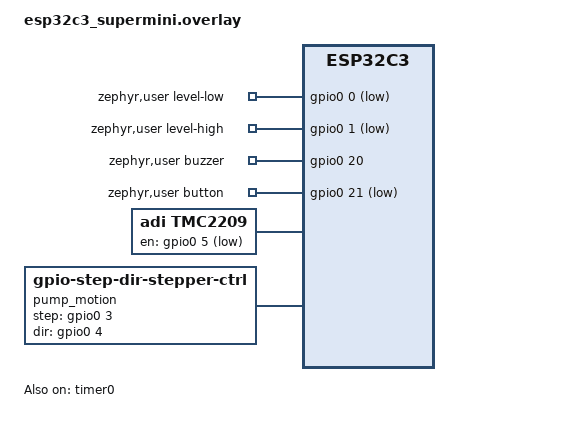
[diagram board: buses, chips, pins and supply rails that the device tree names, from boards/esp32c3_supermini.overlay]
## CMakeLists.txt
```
# Peristaltic condensate pump firmware (design.md §6).
#
#   board esp32c3_supermini : the real pump (TMC2209 step/dir, GPIO sensors, Wi-Fi)
#   board native_sim        : simulated tank + motor, host network, same code
cmake_minimum_required(VERSION 3.20.0)

# Wi-Fi provisioning: the captive-portal module on the device, a stub on the
# host (whose network is reached through offloaded sockets).
if(BOARD MATCHES "native_sim")
    list(APPEND ZEPHYR_EXTRA_MODULES ${CMAKE_CURRENT_SOURCE_DIR}/modules/wifi_prov_sim)
else()
    list(APPEND ZEPHYR_EXTRA_MODULES ${CMAKE_CURRENT_SOURCE_DIR}/modules/wifi_prov)
endif()

find_package(Zephyr REQUIRED HINTS $ENV{ZEPHYR_BASE})
project(peristaltic_pump)

target_sources(app PRIVATE
    src/main.c
    src/control.c
    src/pump.c
    src/level.c
    src/params.c
    src/app_shell.c
    src/cmnd.c
    src/report.c
    src/netcfg.c
    src/pumpnet.c
    src/timesync.c
)

if(CONFIG_PUMP_SIM)
    target_sources(app PRIVATE src/sim.c)
else()
    target_sources(app PRIVATE
        src/motor_stepper.c
        src/level_gpio.c
    )
endif()
```

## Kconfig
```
mainmenu "Peristaltic condensate pump"

menu "Pump"

config PUMP_SIM
	bool "Simulated reservoir and motor"
	default y if BOARD_NATIVE_SIM
	help
	  Replace the TMC2209 and the level sensors with a simulated
	  reservoir (design.md §4.7 volumes) and motor. The control code is
	  the same as on the device.

config PUMP_TICK_MS
	int "Control loop period (ms)"
	default 100

config PUMP_DEBOUNCE_MS
	int "Level sensor debounce (ms)"
	default 2000
	help
	  A sensor must hold a new state this long before it counts. Rejects
	  ripples on the water surface (design.md §5.3).

config PUMP_STEPS_PER_REV
	int "Motor full steps per revolution"
	default 200

config PUMP_MICROSTEPS
	int "Microsteps per full step"
	default 8
	help
	  Must match the TMC2209 MS1/MS2 strapping. Both open = 8
	  (electronics.md §4).

config PUMP_SIM_EFFICIENCY_PCT
	int "Simulated real/believed pump displacement (%)"
	depends on PUMP_SIM
	default 85
	help
	  The simulated pump moves this fraction of what the firmware thinks
	  it moves, to exercise the estimator against an uncalibrated V_rev.

endmenu

source "Kconfig.zephyr"
```

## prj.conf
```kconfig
# ---- Console, log, shell ----------------------------------------------------
CONFIG_CONSOLE=y
CONFIG_PRINTK=y
CONFIG_LOG=y
CONFIG_SHELL=y
CONFIG_KERNEL_SHELL=y
# Logs go to the console backend (UART, or stdout on native_sim) from boot on.
# The shell's own log backend would print every line a second time, and it
# starts too late to show the boot messages.
CONFIG_SHELL_LOG_BACKEND=n
# `cmnd` takes the whole payload as words.
CONFIG_SHELL_ARGC_MAX=32

# ---- Persistent tunables, q̂, counters, network settings (settings on NVS) ---
CONFIG_FLASH=y
CONFIG_FLASH_MAP=y
CONFIG_NVS=y
CONFIG_SETTINGS=y
CONFIG_SETTINGS_NVS=y

# ---- Floats: printf %f in the shell, logs and JSON (no FPU; rates are low) --
CONFIG_PICOLIBC_IO_FLOAT=y
CONFIG_CBPRINTF_FP_SUPPORT=y

# ---- Threads ----------------------------------------------------------------
# main = the control loop (priority 0); the network thread runs at 10, the
# storage work queue at 13, the shell at the lowest priority.
CONFIG_MAIN_STACK_SIZE=4096
CONFIG_SYSTEM_WORKQUEUE_STACK_SIZE=2048
# A stuck control loop resets the chip (main.c).
CONFIG_TASK_WDT=y

# ---- Network: MQTT + Home Assistant, NTP ------------------------------------
CONFIG_NETWORKING=y
CONFIG_NET_IPV4=y
CONFIG_NET_TCP=y
CONFIG_NET_UDP=y
CONFIG_NET_SOCKETS=y
CONFIG_NET_MGMT=y
CONFIG_NET_MGMT_EVENT=y
CONFIG_NET_MGMT_EVENT_INFO=y
CONFIG_MQTT_LIB=y
CONFIG_MQTT_KEEPALIVE=60
CONFIG_SNTP=y
CONFIG_HWINFO=y
CONFIG_WIFI_PROV=y
CONFIG_WIFI_PROV_NAME="Condpump"
```

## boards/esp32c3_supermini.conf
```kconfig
# Stepper: TMC2209 enable pin + CPU step/dir controller on a hardware timer.
CONFIG_GPIO=y
CONFIG_STEPPER=y
CONFIG_COUNTER=y

# Hardware fallback for the task watchdog (wdt0).
CONFIG_WATCHDOG=y

# Logs on the USB console from boot (prj.conf turns the shell log backend off;
# this backend defaults to off whenever the serial shell is enabled).
CONFIG_LOG_BACKEND_UART=y

# ---- Wi-Fi (station + provisioning AP, modules/wifi_prov) -------------------
CONFIG_WIFI=y
CONFIG_WIFI_ESP32=y
CONFIG_WIFI_NM=y
CONFIG_NET_L2_ETHERNET=y
CONFIG_NET_L2_WIFI_MGMT=y
# The ESP32 Wi-Fi driver starts the DHCPv4 client itself on association.
CONFIG_NET_DHCPV4=y
CONFIG_NET_DHCPV4_SERVER=y
CONFIG_NET_CONFIG_AUTO_INIT=n
# wifi_prov follows IPv6 (SLAAC) too, and the home LAN has it.
CONFIG_NET_IPV6=y
CONFIG_NET_IF_MAX_IPV4_COUNT=2
CONFIG_NET_IF_MAX_IPV6_COUNT=2
CONFIG_DNS_RESOLVER=y
CONFIG_DNS_RESOLVER_MAX_SERVERS=2
CONFIG_NET_DHCPV4_OPTION_DNS_ADDRESS=y
CONFIG_DNS_RECONFIGURE_CLEANUP=y
CONFIG_NET_MGMT_EVENT_STACK_SIZE=4096
CONFIG_NET_MGMT_EVENT_QUEUE_SIZE=10

# Shell over the network (port 23) as well as USB: no cable needed once the
# pump is in the wall. Unauthenticated: LAN only (README).
CONFIG_SHELL_BACKEND_TELNET=y
```

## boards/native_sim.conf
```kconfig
# Simulated reservoir and motor (CONFIG_PUMP_SIM defaults to y here).
# Flash simulator backs the settings; pass --flash=<file> to keep them.
CONFIG_FLASH_SIMULATOR=y
CONFIG_FLASH_PAGE_LAYOUT=y

# Network = the host's, through offloaded sockets: no TAP, no setup. Point
# MqttHost at any broker the host can reach.
CONFIG_NET_DRIVERS=y
CONFIG_NET_SOCKETS_OFFLOAD=y
CONFIG_NET_NATIVE_OFFLOADED_SOCKETS=y
CONFIG_ETH_NATIVE_TAP=n
CONFIG_NET_IPV6=n

CONFIG_DEBUG=y
CONFIG_ASSERT=y
CONFIG_PICOLIBC=y
CONFIG_THREAD_NAME=y
```

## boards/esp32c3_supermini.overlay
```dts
/*
 * ESP32-C3 SuperMini on the pump perfboard (docs/electronics.md §4,
 * design.md §5.2). GPIO2/8/9 are strapping pins and 18/19 are USB, so they
 * are left alone; GPIO8 keeps driving the on-board LED.
 */

#include <zephyr/dt-bindings/gpio/gpio.h>

/ {
	aliases {
		pump-driver = &tmc2209;
		pump-motion = &pump_motion;
	};

	zephyr,user {
		/*
		 * Level sensors through the R/C network of electronics.md §5,
		 * which already pulls the line, so no internal pull here.
		 * [TBC Q2] ACTIVE_LOW assumes an NPN normally-open sensor that
		 * pulls its output low when it sees water. Flip to
		 * GPIO_ACTIVE_HIGH for a push-pull or PNP sensor.
		 */
		level-low-gpios = <&gpio0 0 GPIO_ACTIVE_LOW>;
		level-high-gpios = <&gpio0 1 GPIO_ACTIVE_LOW>;

		/* Optional parts (electronics.md §4). */
		buzzer-gpios = <&gpio0 20 GPIO_ACTIVE_HIGH>;
		button-gpios = <&gpio0 21 (GPIO_ACTIVE_LOW | GPIO_PULL_UP)>;
	};

	/*
	 * TMC2209 StepStick in standalone mode: EN only. MS1/MS2 are left
	 * open (8 microsteps), so no m0/m1 GPIOs; micro-step-res records the
	 * strapping. PDN_UART on GPIO6/7 is wired for phase 2 (design.md §6.5).
	 */
	tmc2209: tmc2209 {
		compatible = "adi,tmc2209";
		micro-step-res = <8>;
		en-gpios = <&gpio0 5 GPIO_ACTIVE_LOW>;
	};

	/*
	 * Step/dir generated by the CPU, timed by a hardware timer instead of
	 * the work queue: jitter at 3-20 RPM is audible (design.md §6.5).
	 */
	pump_motion: pump-motion {
		compatible = "zephyr,gpio-step-dir-stepper-ctrl";
		step-gpios = <&gpio0 3 GPIO_ACTIVE_HIGH>;
		dir-gpios = <&gpio0 4 GPIO_ACTIVE_HIGH>;
		counter = <&step_counter>;
		stepper-driver = <&tmc2209>;
	};
};

/*
 * Timer group 0, timer 0. The counter device is the child node
 * (espressif,esp32-counter); the prescaler lives on the parent timer.
 * APB 80 MHz / 80 = 1 MHz: 1 us step-interval resolution.
 */
&timer0 {
	status = "okay";
	prescaler = <80>;

	step_counter: counter {
		status = "okay";
	};
};
```

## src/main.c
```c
/*
 * Peristaltic condensate pump: control loop.
 *
 * Every CONFIG_PUMP_TICK_MS: read the debounced sensors, advance the motor
 * ramp, run the level controller (control.c) and command the pump. The loop
 * is fully local and never waits on the network, the shell or flash (see
 * app.h). A task watchdog resets the chip if a tick is ever missed by
 * seconds.
 */

#include <errno.h>
#include <stdio.h>

#include <zephyr/app_version.h>
#include <zephyr/drivers/gpio.h>
#include <zephyr/kernel.h>
#include <zephyr/logging/log.h>
#include <zephyr/sys/reboot.h>
#include <zephyr/task_wdt/task_wdt.h>

#include "app.h"
#include "control.h"
#include "level.h"
#include "pumpnet.h"
#include "params.h"
#include "pump.h"
#include "timesync.h"
#include "wifi_prov.h"

LOG_MODULE_REGISTER(main, LOG_LEVEL_INF);

#define QHAT_SAVE_MIN_MS   (10 * 60 * 1000) /* flash wear: q̂ at most every 10 min */
#define TOTALS_SAVE_MS     (60 * 60 * 1000) /* counters hourly */
#define MANUAL_MAX_S       3600
#define WDT_TIMEOUT_MS     3000
#define MUTE_MS            (60 * 60 * 1000) /* button silences the buzzer for 1 h */
#define LONG_PRESS_MS      5000             /* button: reboot into the portal */
#define CALIB_Q_MLH        3000.0f
#define CALIB_MAX_MS       (15 * 60 * 1000)

#define STORE_PRIO 13 /* below the MQTT thread, above nothing that matters */

#define USER_NODE DT_PATH(zephyr_user)
#if DT_NODE_HAS_PROP(USER_NODE, buzzer_gpios)
#define HAVE_BUZZER 1
static const struct gpio_dt_spec buzzer = GPIO_DT_SPEC_GET(USER_NODE, buzzer_gpios);
#endif
#if DT_NODE_HAS_PROP(USER_NODE, button_gpios)
#define HAVE_BUTTON 1
static const struct gpio_dt_spec button = GPIO_DT_SPEC_GET(USER_NODE, button_gpios);
#endif

static struct ctl ctl;
static struct k_spinlock lock;
static struct app_status status;

K_MSGQ_DEFINE(event_q, sizeof(struct app_event), 32, 1);
static uint32_t events_dropped;

/* Requests from other threads, taken under the lock. */
static float manual_q = -1.0f;
static int64_t manual_until_ms;
static float calib_req_revs;
static int64_t alarm_test_until_ms;
static bool req_hose_reset;
static bool req_save;

/* Counters persisted across boots = value at boot + this boot's share. */
static double total_at_boot_ml;
static double hose_at_boot_revs;

/* ---- Blocking work, off the control thread ------------------------------ */

static K_THREAD_STACK_DEFINE(store_stack, 2048);
static struct k_work_q store_q;
static bool restart_portal;

static void save_now(void)
{
	struct app_status st;

	app_get_status(&st);
	struct app_state s = {
		.q_hat_mlh = st.q_hat_mlh,
		.total_ml = st.total_ml,
		.hose_revs = st.hose_revs,
	};
	int err = params_save_state(&s);

	if (err) {
		LOG_ERR("saving state failed (%d)", err);
	}
}

static void save_handler(struct k_work *w)
{
	ARG_UNUSED(w);
	save_now();
}
static K_WORK_DEFINE(save_work, save_handler);

static void restart_handler(struct k_work *w)
{
	ARG_UNUSED(w);
	save_now();
	if (restart_portal) {
		(void)wifi_prov_request_portal();
	}
	LOG_WRN("restarting%s", restart_portal ? " into the Wi-Fi portal" : "");
	pumpnet_shutdown();
	k_msleep(500); /* let the log and the MQTT goodbye out */
	sys_reboot(SYS_REBOOT_COLD);
}
static K_WORK_DELAYABLE_DEFINE(restart_work, restart_handler);

void app_restart(bool portal)
{
	restart_portal = portal;
	k_work_reschedule_for_queue(&store_q, &restart_work, K_MSEC(300));
}

/* ---- Observers' API ------------------------------------------------------ */

void app_get_status(struct app_status *st)
{
	K_SPINLOCK(&lock) {
		*st = status;
	}
}

int app_event_get(struct app_event *ev)
{
	return k_msgq_get(&event_q, ev, K_NO_WAIT);
}

void app_events_purge(void)
{
	k_msgq_purge(&event_q);
}

static void post(enum app_event_type type, uint8_t value)
{
	struct app_event ev = {.type = (uint8_t)type, .value = value};

	if (k_msgq_put(&event_q, &ev, K_NO_WAIT) != 0) {
		events_dropped++; /* nobody is draining it: MQTT is down */
	}
}

void app_manual(float q_mlh, uint32_t seconds)
{
	if (seconds == 0 || seconds > MANUAL_MAX_S) {
		seconds = MANUAL_MAX_S;
	}
	K_SPINLOCK(&lock) {
		manual_q = (q_mlh > 0.0f) ? q_mlh : 0.0f;
		manual_until_ms = k_uptime_get() + (int64_t)seconds * 1000;
		calib_req_revs = 0.0f;
	}
}

void app_auto(void)
{
	K_SPINLOCK(&lock) {
		manual_q = -1.0f;
		calib_req_revs = -1.0f; /* also aborts a calibration */
	}
}

int app_calibrate(float revs)
{
	if (revs < 1.0f || revs > 500.0f) {
		return -EINVAL;
	}
	K_SPINLOCK(&lock) {
		calib_req_revs = revs;
	}
	return 0;
}

int app_calibrate_ml(float ml, float *v_rev_out)
{
	struct app_status st;
	char val[16];

	app_get_status(&st);
	if (st.calibrating || st.calib_revs < 0.5f || ml <= 0.0f) {
		return -EAGAIN;
	}
	float v = ml / st.calib_revs;

	snprintf(val, sizeof(val), "%.3f", (double)v);
	int err = params_set("v_rev_ml", val);

	if (err == 0) {
		*v_rev_out = v;
		LOG_INF("calibrated: %.1f mL / %.2f rev = %.3f mL/rev", (double)ml,
			(double)st.calib_revs, (double)v);
	}
	return err;
}

void app_test_alarm(uint32_t seconds)
{
	K_SPINLOCK(&lock) {
		alarm_test_until_ms = k_uptime_get() + (int64_t)MIN(seconds, 60U) * 1000;
	}
}

void app_hose_replaced(void)
{
	K_SPINLOCK(&lock) {
		req_hose_reset = true;
	}
}

void app_save(void)
{
	K_SPINLOCK(&lock) {
		req_save = true;
	}
}

/* ---- Local helpers ------------------------------------------------------- */

static void log_events(const struct ctl *c, uint32_t ev, const struct ctl_out *out)
{
	if (ev & CTL_EV_MEASURED) {
		LOG_INF("inflow measured %.0f mL/h -> q_hat %.0f mL/h (#%u)",
			(double)c->last_meas_mlh, (double)c->q_hat_mlh, c->n_measurements);
	}
	if (ev & CTL_EV_BOOST) {
		LOG_WRN("level high for long: q_hat raised to %.0f mL/h", (double)c->q_hat_mlh);
	}
	if (ev & CTL_EV_STATE) {
		LOG_INF("state %s, q %.0f mL/h (q_hat %.0f)", ctl_state_name(c->state),
			(double)out->q_cmd_mlh, (double)c->q_hat_mlh);
	}
	if (ev & CTL_EV_EMERGENCY) {
		LOG_WRN("EMERGENCY: full speed until the low sensor is dry");
	}
	if (ev & CTL_EV_PROBLEM_ON) {
		LOG_ERR("PROBLEM: %s", c->sensor_fault ? "sensor fault (L dry, H wet)"
						       : "pump cannot clear the high level");
	}
	if (ev & CTL_EV_PROBLEM_OFF) {
		LOG_INF("problem cleared");
	}
}

static bool night_active(void)
{
	float h;

	if (g_par.quiet) {
		return true;
	}
	return g_par.night_sched && timesync_local_hours(g_par.tz_h, &h) &&
	       timesync_in_window(h, g_par.night_start_h, g_par.night_end_h);
}

/* Button: a short press silences the alarm for an hour; holding it 5 s
 * reboots into the Wi-Fi portal. Returns true while a chirp is due. */
static bool button_update(int64_t now, bool alarm, int64_t *mute_until)
{
#ifdef HAVE_BUTTON
	static int64_t down_since = -1;
	bool down = gpio_pin_get_dt(&button) > 0;

	if (down && down_since < 0) {
		down_since = now;
	} else if (!down && down_since >= 0) {
		int64_t held = now - down_since;

		down_since = -1;
		if (held >= LONG_PRESS_MS) {
			app_restart(true);
		} else if (held >= 50 && alarm) {
			*mute_until = now + MUTE_MS;
			LOG_WRN("alarm silenced for 1 h (button)");
		}
	}
	/* Chirp once the long press is armed, so you know when to let go. */
	return down_since >= 0 && now - down_since >= LONG_PRESS_MS &&
	       now - down_since < LONG_PRESS_MS + 300;
#else
	ARG_UNUSED(now);
	ARG_UNUSED(alarm);
	ARG_UNUSED(mute_until);
	return false;
#endif
}

static void buzzer_set(bool on)
{
#ifdef HAVE_BUZZER
	gpio_pin_set_dt(&buzzer, on);
#else
	ARG_UNUSED(on);
#endif
}

static void watchdog_init(int *channel)
{
	const struct device *hw = DEVICE_DT_GET_OR_NULL(DT_ALIAS(watchdog0));
	int err;

	if (hw && !device_is_ready(hw)) {
		hw = NULL;
	}
	err = task_wdt_init(hw);
	if (err) {
		LOG_ERR("task watchdog init failed (%d)", err);
		*channel = -1;
		return;
	}
	/* No callback: a stuck control loop resets the chip. */
	*channel = task_wdt_add(WDT_TIMEOUT_MS, NULL, NULL);
	LOG_INF("control loop watchdog %d ms%s", WDT_TIMEOUT_MS,
		hw ? ", hardware fallback" : "");
}

enum calib_phase { CAL_OFF, CAL_RUN, CAL_STOP };

int main(void)
{
	struct ctl_out out;
	int64_t last_qhat_save = 0;
	int64_t last_totals_save = k_uptime_get();
	int64_t mute_until = 0;
	bool qhat_dirty = false;
	bool hose_warned = false;
	int wdt = -1;
	uint32_t n_boosts = 0, n_emergencies = 0;
	int err;

	/* Calibration run: CAL_RUN turns until the revolutions are done,
	 * CAL_STOP holds the motor at 0 until it has stopped. */
	enum calib_phase cal = CAL_OFF;
	double cal_start_revs = 0.0;
	float cal_target = 0.0f;
	float cal_done_revs = 0.0f;
	int64_t cal_started = 0;

	/* Last values posted as events, to post only the edges. */
	struct app_status prev = {.state = CTL_STATE_COUNT};

	LOG_INF("peristaltic pump firmware %s, %s", APP_VERSION_STRING,
		IS_ENABLED(CONFIG_PUMP_SIM) ? "SIMULATED reservoir and motor" : CONFIG_BOARD);

	(void)params_init(); /* defaults are usable even if storage fails */
	total_at_boot_ml = g_state.total_ml;
	hose_at_boot_revs = g_state.hose_revs;

	k_work_queue_start(&store_q, store_stack, K_THREAD_STACK_SIZEOF(store_stack), STORE_PRIO,
			   &(struct k_work_queue_config){.name = "store"});

	err = level_init();
	if (err) {
		LOG_ERR("level sensors init failed (%d)", err);
	}
	err = pump_init();
	if (err) {
		LOG_ERR("pump init failed (%d)", err);
	}
#ifdef HAVE_BUZZER
	if (gpio_is_ready_dt(&buzzer)) {
		gpio_pin_configure_dt(&buzzer, GPIO_OUTPUT_INACTIVE);
	}
#endif
#ifdef HAVE_BUTTON
	if (gpio_is_ready_dt(&button)) {
		gpio_pin_configure_dt(&button, GPIO_INPUT);
	}
#endif

	ctl_init(&ctl, &g_par.ctl, g_state.q_hat_mlh);

	/* The network runs in its own lower-priority threads from here on. */
	pumpnet_start();

	watchdog_init(&wdt);

	int64_t next = k_uptime_get();

	for (;;) {
		int64_t now = k_uptime_get();
		/* Set under the lock below; initialised for the compiler. */
		float m_q = -1.0f;
		int64_t m_until = 0;
		float cal_req = 0.0f;
		int64_t test_until = 0;
		bool hose_reset = false, save = false;

		if (wdt >= 0) {
			task_wdt_feed(wdt);
		}

		K_SPINLOCK(&lock) {
			m_q = manual_q;
			m_until = manual_until_ms;
			cal_req = calib_req_revs;
			test_until = alarm_test_until_ms;
			hose_reset = req_hose_reset;
			save = req_save;
			calib_req_revs = 0.0f;
			req_hose_reset = false;
			req_save = false;
		}

		level_tick(now);
		pump_tick(now);

		bool night = night_active();
		struct ctl_in in = {
			.now_ms = now,
			.l_wet = level_low_wet(),
			.h_wet = level_high_wet(),
			.pumped_ml = pump_pumped_ml(),
			.night = night,
		};

		ctl_step(&ctl, &in, &out);

		uint32_t ev = ctl.events;

		ctl.events = 0;
		log_events(&ctl, ev, &out);
		if (ev & CTL_EV_BOOST) {
			n_boosts++;
		}
		if (ev & CTL_EV_EMERGENCY) {
			n_emergencies++;
		}

		/* Calibration requests. */
		if (cal_req > 0.0f) {
			cal = CAL_RUN;
			cal_target = cal_req;
			cal_start_revs = pump_revs();
			cal_started = now;
			K_SPINLOCK(&lock) {
				manual_q = -1.0f; /* a calibration replaces a manual run */
			}
			m_q = -1.0f;
			LOG_INF("calibration: %.0f revolutions at %.0f mL/h", (double)cal_target,
				(double)CALIB_Q_MLH);
		} else if (cal_req < 0.0f && cal != CAL_OFF) {
			cal = CAL_OFF;
			LOG_WRN("calibration aborted");
		}
		if (cal != CAL_OFF && (ctl.state == CTL_EMERGENCY || now - cal_started > CALIB_MAX_MS)) {
			cal = CAL_OFF;
			LOG_WRN("calibration aborted (%s)",
				ctl.state == CTL_EMERGENCY ? "emergency" : "timeout");
		}
		if (cal == CAL_RUN && pump_revs() - cal_start_revs >= (double)cal_target) {
			cal = CAL_STOP;
		}
		if (cal == CAL_STOP && pump_flow_mlh() <= 0.0f) {
			cal = CAL_OFF;
			cal_done_revs = (float)(pump_revs() - cal_start_revs);
			LOG_INF("calibration run done: %.2f rev. Measure the water and send "
				"`CalibrateMl <mL>`", (double)cal_done_revs);
		}

		/* Manual override or calibration, except that an emergency always wins. */
		bool manual = cal != CAL_OFF ||
			      (m_q >= 0.0f && now < m_until && ctl.state != CTL_EMERGENCY);
		float q_manual = (cal == CAL_RUN) ? CALIB_Q_MLH : (cal == CAL_STOP) ? 0.0f : m_q;

		if (manual) {
			ctl_invalidate(&ctl); /* the water we move is not inflow */
			pump_set_flow(q_manual, cal == CAL_STOP);
		} else {
			if (m_q >= 0.0f) {
				K_SPINLOCK(&lock) {
					if (manual_until_ms == m_until) {
						manual_q = -1.0f; /* expired, not renewed */
					}
				}
			}
			pump_set_flow(out.q_cmd_mlh, out.fast_ramp);
		}

		/* Counters and persistence. */
		if (hose_reset) {
			hose_at_boot_revs = -pump_revs();
			hose_warned = false;
			save = true;
			LOG_INF("hose replaced: revolution counter reset");
		}
		double total_ml = total_at_boot_ml + pump_pumped_ml();
		double hose_revs = hose_at_boot_revs + pump_revs();
		bool hose_worn = g_par.hose_life_revs > 0.0f &&
				 hose_revs >= (double)g_par.hose_life_revs;

		if (hose_worn && !hose_warned) {
			hose_warned = true;
			LOG_WRN("hose due for replacement (%.0f rev)", hose_revs);
		}

		if (ev & CTL_EV_QHAT_CHANGED) {
			qhat_dirty = true;
		}
		bool save_due = save || (qhat_dirty && now - last_qhat_save >= QHAT_SAVE_MIN_MS) ||
				now - last_totals_save >= TOTALS_SAVE_MS;

		/* Alarm, mute, button, buzzer. */
		bool alarm = ctl.problem || ctl.sensor_fault;

		if (!alarm) {
			mute_until = 0;
		}
		bool chirp = button_update(now, alarm, &mute_until);
		bool muted = alarm && now < mute_until;
		bool testing = now < test_until;

		/* Alarm: 200 ms beep every 5 s. Test: 200 ms on / 200 ms off. */
		buzzer_set(chirp || (alarm && !muted && (now % 5000) < 200) ||
			   (testing && (now % 400) < 200));

		K_SPINLOCK(&lock) {
			status = (struct app_status){
				.state = ctl.state,
				.low_wet = in.l_wet,
				.high_wet = in.h_wet,
				.low_raw = level_low_raw(),
				.high_raw = level_high_raw(),
				.q_hat_mlh = ctl.q_hat_mlh,
				.last_meas_mlh = ctl.last_meas_mlh,
				.n_measurements = ctl.n_measurements,
				.q_cmd_mlh = pump_target_mlh(),
				.flow_mlh = pump_flow_mlh(),
				.rpm = pump_rpm(),
				.total_ml = total_ml,
				.hose_revs = hose_revs,
				.problem = ctl.problem,
				.sensor_fault = ctl.sensor_fault,
				.hose_worn = hose_worn,
				.manual = manual,
				.manual_q_mlh = manual ? q_manual : 0.0f,
				.manual_left_s = (manual && cal == CAL_OFF)
							 ? (uint32_t)((m_until - now) / 1000) : 0,
				.night = night,
				.muted = muted,
				.calibrating = cal != CAL_OFF,
				.calib_revs = cal_done_revs,
				.n_boosts = n_boosts,
				.n_emergencies = n_emergencies,
				.events_dropped = events_dropped,
			};
		}

		/* After the snapshot, so a save sees this tick's values. */
		if (save_due) {
			k_work_submit_to_queue(&store_q, &save_work);
			qhat_dirty = false;
			last_qhat_save = now;
			last_totals_save = now;
		}

		/* Edges for the observers, oldest first. */
		if (in.l_wet != prev.low_wet || prev.state == CTL_STATE_COUNT) {
			post(APP_EV_LOW, in.l_wet);
		}
		if (in.h_wet != prev.high_wet || prev.state == CTL_STATE_COUNT) {
			post(APP_EV_HIGH, in.h_wet);
		}
		if (ctl.state != prev.state) {
			post(APP_EV_STATE, (uint8_t)ctl.state);
		}
		if (ctl.problem != prev.problem) {
			post(APP_EV_PROBLEM, ctl.problem);
		}
		if (ctl.sensor_fault != prev.sensor_fault) {
			post(APP_EV_SENSOR_FAULT, ctl.sensor_fault);
		}
		if (hose_worn != prev.hose_worn) {
			post(APP_EV_HOSE_WORN, hose_worn);
		}
		if (manual != prev.manual) {
			post(APP_EV_MANUAL, manual);
		}
		if (night != prev.night) {
			post(APP_EV_NIGHT, night);
		}
		prev.low_wet = in.l_wet;
		prev.high_wet = in.h_wet;
		prev.state = ctl.state;
		prev.problem = ctl.problem;
		prev.sensor_fault = ctl.sensor_fault;
		prev.hose_worn = hose_worn;
		prev.manual = manual;
		prev.night = night;

		next += CONFIG_PUMP_TICK_MS;
		if (next < now) {
			next = now; /* fell behind: do not try to catch up */
		}
		k_sleep(K_TIMEOUT_ABS_MS(next));
	}

	return 0;
}
```

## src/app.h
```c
/*
 * Interface between the control loop (main.c) and its observers: the shell,
 * the command processor and the MQTT thread.
 *
 * Isolation rule: the control loop never waits on any of them. It hands out
 * a snapshot under a spinlock (a struct copy), posts events to a queue
 * without waiting (dropped and counted when full), and gives everything that
 * can block (flash writes, reboots) to a low-priority work queue. Requests
 * coming the other way are flags it picks up on its next tick.
 */

#ifndef PUMP_APP_H_
#define PUMP_APP_H_

#include <stdbool.h>
#include <stdint.h>

#include "control.h"

struct app_status {
	enum ctl_state state;
	bool low_wet, high_wet;   /* debounced */
	bool low_raw, high_raw;
	float q_hat_mlh;          /* inflow estimate */
	float last_meas_mlh;
	uint32_t n_measurements;
	float q_cmd_mlh;          /* what the pump is told */
	float flow_mlh;           /* ramped flow now */
	float rpm;
	double total_ml;          /* lifetime */
	double hose_revs;
	bool problem;             /* pump failure */
	bool sensor_fault;
	bool hose_worn;
	bool manual;
	float manual_q_mlh;       /* 0 when not manual */
	uint32_t manual_left_s;
	bool night;               /* night cap active */
	bool muted;               /* buzzer silenced by the button */
	bool calibrating;
	float calib_revs;         /* revolutions of the last calibration run */
	uint32_t n_boosts;        /* since boot */
	uint32_t n_emergencies;   /* since boot */
	uint32_t events_dropped;  /* event queue overflows since boot */
};

void app_get_status(struct app_status *st);

/* Discrete changes, in order, for the MQTT thread (edges of the HA
 * binary sensors and the controller state). */
enum app_event_type {
	APP_EV_LOW,     /* value: wet */
	APP_EV_HIGH,
	APP_EV_STATE,   /* value: enum ctl_state */
	APP_EV_PROBLEM,
	APP_EV_SENSOR_FAULT,
	APP_EV_HOSE_WORN,
	APP_EV_MANUAL,
	APP_EV_NIGHT,
	APP_EV_COUNT,
};

struct app_event {
	uint8_t type;
	uint8_t value;
};

/* Next event, without waiting. 0 or -EAGAIN. */
int app_event_get(struct app_event *ev);
/* Forget queued events (before republishing everything from a snapshot). */
void app_events_purge(void);

/* Run at a fixed flow for some seconds (purge, test); the control loop
 * keeps watching and EMERGENCY still overrides it. */
void app_manual(float q_mlh, uint32_t seconds);
void app_auto(void);

/* Calibration (design.md §6.4): turn `revs` revolutions at a fixed flow into
 * a measuring cup, then app_calibrate_ml() with what was collected. */
int app_calibrate(float revs);
int app_calibrate_ml(float ml, float *v_rev_out);

void app_test_alarm(uint32_t seconds);
void app_hose_replaced(void);
void app_save(void);

/* Save the state, then reboot (into the Wi-Fi portal if asked). */
void app_restart(bool portal);

#endif /* PUMP_APP_H_ */
```

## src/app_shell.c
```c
/* Shell: `pump ...` on every build, `sim ...` on native_sim. */

#include <stdlib.h>
#include <string.h>
#include <errno.h>

#include <zephyr/kernel.h>
#include <zephyr/shell/shell.h>

#include "app.h"
#include "cmnd.h"
#include "pumpnet.h"
#include "params.h"
#include "timesync.h"
#include "wifi_prov.h"
#ifdef CONFIG_PUMP_SIM
#include "sim.h"
#endif

static const char *wet(bool w)
{
	return w ? "wet" : "dry";
}

static int cmd_status(const struct shell *sh, size_t argc, char **argv)
{
	struct app_status st;

	ARG_UNUSED(argc);
	ARG_UNUSED(argv);
	app_get_status(&st);

	shell_print(sh, "state      %s%s", ctl_state_name(st.state),
		    st.manual ? " (MANUAL override)" : "");
	if (st.manual) {
		shell_print(sh, "manual     %u s left", st.manual_left_s);
	}
	shell_print(sh, "level      L %s (raw %s)  H %s (raw %s)", wet(st.low_wet),
		    wet(st.low_raw), wet(st.high_wet), wet(st.high_raw));
	shell_print(sh, "inflow     q_hat %.0f mL/h, last measured %.0f mL/h (%u meas.)",
		    (double)st.q_hat_mlh, (double)st.last_meas_mlh, st.n_measurements);
	shell_print(sh, "pump       cmd %.0f mL/h, now %.0f mL/h, %.2f RPM",
		    (double)st.q_cmd_mlh, (double)st.flow_mlh, (double)st.rpm);
	shell_print(sh, "totals     %.2f L pumped, hose %.0f rev%s", st.total_ml / 1000.0,
		    st.hose_revs, st.hose_worn ? " (REPLACE HOSE)" : "");
	shell_print(sh, "problem    %s%s%s", st.problem ? "PUMP FAILURE" : "no",
		    st.sensor_fault ? ", SENSOR FAULT" : "", st.muted ? " (buzzer muted)" : "");
	shell_print(sh, "night cap  %s", st.night ? "active" : "off");
	if (st.calibrating || st.calib_revs > 0.0f) {
		shell_print(sh, "calibrate  %s, last run %.2f rev",
			    st.calibrating ? "RUNNING" : "idle", (double)st.calib_revs);
	}

	struct pumpnet_stats ns;
	char t[24];

	pumpnet_get_stats(&ns);
	timesync_format(g_par.tz_h, t, sizeof(t));
	shell_print(sh, "network    Wi-Fi %s %s, MQTT %s (%u connects), time %s",
		    wifi_prov_get_ssid(), wifi_prov_get_ip(), ns.mqtt_up ? "up" : "down",
		    ns.mqtt_connects, t[0] ? t : "not set");
	return 0;
}

static int cmd_params(const struct shell *sh, size_t argc, char **argv)
{
	ARG_UNUSED(argc);
	ARG_UNUSED(argv);

	for (size_t i = 0; i < params_count(); i++) {
		const struct param_desc *d = params_get(i);

		shell_print(sh, "%-18s %10.3f %-7s [%g .. %g]", d->name,
			    (double)params_value(d), d->unit, (double)d->min, (double)d->max);
	}
	return 0;
}

static int cmd_set(const struct shell *sh, size_t argc, char **argv)
{
	ARG_UNUSED(argc);

	int err = params_set(argv[1], argv[2]);

	if (err == -ENOENT) {
		shell_error(sh, "unknown parameter %s (see `pump params`)", argv[1]);
	} else if (err == -EINVAL) {
		shell_error(sh, "bad value or out of range");
	} else if (err) {
		shell_error(sh, "applied, but saving failed (%d)", err);
	}
	return err;
}

static int cmd_manual(const struct shell *sh, size_t argc, char **argv)
{
	float q = strtof(argv[1], NULL);
	uint32_t s = (argc > 2) ? strtoul(argv[2], NULL, 10) : 600;

	app_manual(q, s);
	shell_print(sh, "manual %.0f mL/h for %u s (`pump auto` to stop)", (double)q, s);
	return 0;
}

static int cmd_auto(const struct shell *sh, size_t argc, char **argv)
{
	ARG_UNUSED(argc);
	ARG_UNUSED(argv);
	app_auto();
	shell_print(sh, "automatic control");
	return 0;
}

static int cmd_hose(const struct shell *sh, size_t argc, char **argv)
{
	ARG_UNUSED(argc);
	ARG_UNUSED(argv);
	app_hose_replaced();
	shell_print(sh, "hose revolution counter reset");
	return 0;
}

static int cmd_save(const struct shell *sh, size_t argc, char **argv)
{
	ARG_UNUSED(argc);
	ARG_UNUSED(argv);
	app_save();
	return 0;
}

static void list_one(void *ctx, const char *name, const char *help)
{
	shell_print((const struct shell *)ctx, "  %-16s %s", name, help);
}

/* cmnd <Command> [payload...]: the MQTT command set (cmnd.h). The buffers
 * are static (shell stacks are small) and shared by the serial and telnet
 * shells, hence the mutex. */
static K_MUTEX_DEFINE(cmnd_lock);

static int cmd_cmnd(const struct shell *sh, size_t argc, char **argv)
{
	static char pl[128];
	static char out[1536];

	if (argc < 2) {
		shell_print(sh, "cmnd <Command> [payload]   (case-insensitive; no payload = query)");
		cmnd_list(list_one, (void *)sh);
		return 0;
	}
	k_mutex_lock(&cmnd_lock, K_FOREVER);
	pl[0] = '\0';
	for (size_t i = 2; i < argc; i++) {
		if (i > 2) {
			strncat(pl, " ", sizeof(pl) - strlen(pl) - 1);
		}
		strncat(pl, argv[i], sizeof(pl) - strlen(pl) - 1);
	}
	int err = cmnd_exec(argv[1], pl, out, sizeof(out));

	shell_print(sh, "%s", out);
	k_mutex_unlock(&cmnd_lock);
	return err == -ENOENT ? -ENOEXEC : 0;
}
SHELL_CMD_ARG_REGISTER(cmnd, NULL, "Tasmota-style command, as over MQTT: cmnd <Command> [payload]",
		       cmd_cmnd, 1, 30);

SHELL_STATIC_SUBCMD_SET_CREATE(pump_cmds,
	SHELL_CMD(status, NULL, "Controller, sensors and pump state", cmd_status),
	SHELL_CMD(params, NULL, "List tunables", cmd_params),
	SHELL_CMD_ARG(set, NULL, "<name> <value>  Set and store a tunable", cmd_set, 3, 0),
	SHELL_CMD_ARG(manual, NULL, "<mL/h> [s]  Fixed flow (purge, test)", cmd_manual, 2, 1),
	SHELL_CMD(auto, NULL, "Back to automatic control", cmd_auto),
	SHELL_CMD(hose_replaced, NULL, "Reset the hose revolution counter", cmd_hose),
	SHELL_CMD(save, NULL, "Store q_hat and counters now", cmd_save),
	SHELL_SUBCMD_SET_END);
SHELL_CMD_REGISTER(pump, &pump_cmds, "Condensate pump", NULL);

#ifdef CONFIG_PUMP_SIM
static int cmd_sim_status(const struct shell *sh, size_t argc, char **argv)
{
	struct sim_status st;

	ARG_UNUSED(argc);
	ARG_UNUSED(argv);
	sim_get_status(&st);
	shell_print(sh, "reservoir  %.1f mL (L trip 77, H trip 142, lid 223)%s%s",
		    st.volume_ml, st.overflowed ? " OVERFLOW" : "", st.air ? " AIR" : "");
	shell_print(sh, "inflow     %.0f mL/h, real outflow %.0f mL/h%s",
		    (double)st.inflow_mlh, (double)st.real_outflow_mlh,
		    st.dead ? " (pump DEAD)" : "");
	return 0;
}

static int cmd_sim_inflow(const struct shell *sh, size_t argc, char **argv)
{
	ARG_UNUSED(argc);
	sim_set_inflow(strtof(argv[1], NULL));
	return cmd_sim_status(sh, 0, NULL);
}

static int cmd_sim_dead(const struct shell *sh, size_t argc, char **argv)
{
	ARG_UNUSED(argc);
	sim_set_dead(atoi(argv[1]) != 0);
	return cmd_sim_status(sh, 0, NULL);
}

static int cmd_sim_volume(const struct shell *sh, size_t argc, char **argv)
{
	ARG_UNUSED(argc);
	sim_set_volume(strtod(argv[1], NULL));
	return cmd_sim_status(sh, 0, NULL);
}

SHELL_STATIC_SUBCMD_SET_CREATE(sim_cmds,
	SHELL_CMD(status, NULL, "Simulated reservoir", cmd_sim_status),
	SHELL_CMD_ARG(inflow, NULL, "<mL/h>  Condensate inflow", cmd_sim_inflow, 2, 0),
	SHELL_CMD_ARG(dead, NULL, "<0|1>  Hose slipped: motor turns, no water", cmd_sim_dead,
		      2, 0),
	SHELL_CMD_ARG(volume, NULL, "<mL>  Set the water volume", cmd_sim_volume, 2, 0),
	SHELL_SUBCMD_SET_END);
SHELL_CMD_REGISTER(sim, &sim_cmds, "Simulated reservoir (native_sim)", NULL);
#endif
```

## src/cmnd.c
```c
#include "cmnd.h"

#include <ctype.h>
#include <errno.h>
#include <stdlib.h>
#include <string.h>
#include <strings.h>

#include <zephyr/kernel.h>
#include <zephyr/logging/log.h>

#include "app.h"
#include "netcfg.h"
#include "params.h"
#include "report.h"
#include "timesync.h"
#include "wifi_prov.h"

LOG_MODULE_REGISTER(cmnd, LOG_LEVEL_INF);

/* The shell and the MQTT thread may both call in; commands are rare. */
static K_MUTEX_DEFINE(lock);
static char tmp[1024];

#define PURGE_Q_MLH 3000.0f

struct cmd {
	const char *name;
	/* Fill w (inside the result object). Return 0 or -EINVAL. */
	int (*fn)(const char *name, const char *pl, struct jw *w);
	const char *help;
};

static int error(struct jw *w, const char *name, const char *hint)
{
	jw_str(w, name, "Error");
	jw_str(w, "Hint", hint);
	return -EINVAL;
}

static bool to_float(const char *s, float *v)
{
	char *end;

	*v = strtof(s, &end);
	return end != s && (*end == '\0' || isspace((unsigned char)*end));
}

static int c_status(const char *name, const char *pl, struct jw *w)
{
	struct app_status st;

	ARG_UNUSED(name);
	ARG_UNUSED(pl);
	app_get_status(&st);
	if (report_sensor(tmp, sizeof(tmp), &st) > 0) {
		jw_key(w, "Sensor");
		jw_raw(w, tmp);
	}
	if (report_state(tmp, sizeof(tmp)) > 0) {
		jw_key(w, "State");
		jw_raw(w, tmp);
	}
	return 0;
}

static int c_params(const char *name, const char *pl, struct jw *w)
{
	ARG_UNUSED(pl);
	if (report_params(tmp, sizeof(tmp)) > 0) {
		jw_key(w, name);
		jw_raw(w, tmp);
	}
	return 0;
}

static int c_manual(const char *name, const char *pl, struct jw *w)
{
	struct app_status st;

	if (*pl) {
		char *end;
		float q = strtof(pl, &end);
		unsigned long s = strtoul(end, NULL, 10);

		if (end == pl || q < 0.0f || q > 30000.0f) {
			return error(w, name, "Manual <mL/h> [seconds, default 600]");
		}
		app_manual(q, s ? (uint32_t)s : 600U);
		k_msleep(2 * CONFIG_PUMP_TICK_MS); /* let the loop take it */
	}
	app_get_status(&st);
	jw_obj_open(w, name);
	jw_bool(w, "on", st.manual);
	jw_num(w, "q", (double)st.manual_q_mlh, 0);
	jw_int(w, "left", st.manual_left_s);
	jw_obj_close(w);
	return 0;
}

static int c_auto(const char *name, const char *pl, struct jw *w)
{
	ARG_UNUSED(pl);
	app_auto();
	jw_str(w, name, "Done");
	return 0;
}

static int c_purge(const char *name, const char *pl, struct jw *w)
{
	unsigned long s = *pl ? strtoul(pl, NULL, 10) : 60;

	if (s == 0 || s > 3600) {
		return error(w, name, "Purge [seconds, default 60]");
	}
	app_manual(PURGE_Q_MLH, (uint32_t)s);
	jw_obj_open(w, name);
	jw_num(w, "q", (double)PURGE_Q_MLH, 0);
	jw_int(w, "seconds", (long long)s);
	jw_obj_close(w);
	return 0;
}

static int c_calibrate(const char *name, const char *pl, struct jw *w)
{
	float revs = 20.0f;

	if (*pl && !to_float(pl, &revs)) {
		return error(w, name, "Calibrate [revolutions, default 20]");
	}
	if (app_calibrate(revs)) {
		return error(w, name, "1 to 500 revolutions");
	}
	jw_obj_open(w, name);
	jw_num(w, "revolutions", (double)revs, 1);
	jw_str(w, "next", "measure the water, then CalibrateMl <mL>");
	jw_obj_close(w);
	return 0;
}

static int c_calibrate_ml(const char *name, const char *pl, struct jw *w)
{
	float ml, v;

	if (!to_float(pl, &ml)) {
		return error(w, name, "CalibrateMl <mL collected>");
	}
	if (app_calibrate_ml(ml, &v)) {
		return error(w, name, "run Calibrate first and wait for it to finish");
	}
	jw_num(w, "v_rev_ml", (double)v, 3);
	return 0;
}

static int c_simple(const char *name, const char *pl, struct jw *w)
{
	ARG_UNUSED(pl);
	if (!strcasecmp(name, "HoseReplaced")) {
		app_hose_replaced();
	} else if (!strcasecmp(name, "Save")) {
		app_save();
	}
	jw_str(w, name, "Done");
	return 0;
}

static int c_test_alarm(const char *name, const char *pl, struct jw *w)
{
	unsigned long s = *pl ? strtoul(pl, NULL, 10) : 3;

	app_test_alarm((uint32_t)s);
	jw_str(w, name, "Done");
	return 0;
}

static int c_restart(const char *name, const char *pl, struct jw *w)
{
	if (strcmp(pl, "1") != 0) {
		return error(w, name, "Restart 1");
	}
	app_restart(false);
	jw_str(w, name, "Restarting");
	return 0;
}

static int c_wificonfig(const char *name, const char *pl, struct jw *w)
{
	if (strcmp(pl, "2") != 0) {
		return error(w, name, "WifiConfig 2 reboots into the setup portal");
	}
	app_restart(true);
	jw_str(w, name, "Restarting into the portal");
	return 0;
}

static int c_ssid(const char *name, const char *pl, struct jw *w)
{
	if (*pl && wifi_prov_store_credentials(pl, NULL)) {
		return error(w, name, "1 to 32 characters");
	}
	jw_str(w, name, wifi_prov_get_stored_ssid());
	if (*pl) {
		jw_str(w, "Restart", "needed: Restart 1");
	}
	return 0;
}

static int c_password(const char *name, const char *pl, struct jw *w)
{
	if (*pl) {
		/* "-" clears it (open network); Tasmota uses a double quote. */
		if (wifi_prov_store_credentials(NULL, strcmp(pl, "-") ? pl : "")) {
			return error(w, name, "set SSId first");
		}
		jw_str(w, "Restart", "needed: Restart 1");
	}
	jw_str(w, name, "****");
	return 0;
}

static int c_time(const char *name, const char *pl, struct jw *w)
{
	char t[24];

	ARG_UNUSED(pl);
	timesync_format(g_par.tz_h, t, sizeof(t));
	jw_str(w, name, t[0] ? t : "not set");
	return 0;
}

static int c_backlog(const char *name, const char *pl, struct jw *w);

static const struct cmd cmds[] = {
	{"Status", c_status, "everything"},
	{"Params", c_params, "all tunables"},
	{"Manual", c_manual, "<mL/h> [s]  fixed flow (default 600 s)"},
	{"Auto", c_auto, "back to automatic control"},
	{"Purge", c_purge, "[s]  3 L/h for s seconds (default 60)"},
	{"Calibrate", c_calibrate, "[rev]  turn rev revolutions into a cup (default 20)"},
	{"CalibrateMl", c_calibrate_ml, "<mL>  sets v_rev_ml from the last Calibrate"},
	{"HoseReplaced", c_simple, "reset the hose revolution counter"},
	{"Save", c_simple, "store q_hat and the counters now"},
	{"TestAlarm", c_test_alarm, "[s]  beep for s seconds (default 3)"},
	{"Restart", c_restart, "1  reboot"},
	{"WifiConfig", c_wificonfig, "2  reboot into the Wi-Fi setup portal"},
	{"SSId", c_ssid, "[ssid]  Wi-Fi network (applied at restart)"},
	{"Password", c_password, "[pass]  Wi-Fi password, - for none (at restart)"},
	{"Time", c_time, "local time"},
	{"Backlog", c_backlog, "<cmd> [pl]; <cmd> [pl]; ...  several at once"},
};

/* Tasmota names for the netcfg keys. */
static const struct {
	const char *name;
	const char *key;
} net_names[] = {
	{"MqttHost", "mqtt_host"},     {"MqttPort", "mqtt_port"},
	{"MqttUser", "mqtt_user"},     {"MqttPassword", "mqtt_pass"},
	{"Topic", "topic"},            {"Discovery", "discovery"},
	{"DiscoveryPrefix", "disc_prefix"}, {"NtpServer", "ntp"},
};

static int run(const char *cmd, const char *pl, struct jw *w, bool nested);

static int c_backlog(const char *name, const char *pl, struct jw *w)
{
	char list[256];
	char *save = NULL;
	int err = 0;

	if (strlen(pl) >= sizeof(list)) {
		return error(w, name, "too long");
	}
	strcpy(list, pl);
	jw_key(w, name);
	jw_raw(w, "[");
	w->first = true;
	for (char *one = strtok_r(list, ";", &save); one; one = strtok_r(NULL, ";", &save)) {
		while (isspace((unsigned char)*one)) {
			one++;
		}
		char *sp = one;

		while (*sp && !isspace((unsigned char)*sp)) {
			sp++;
		}
		char *arg = sp;

		if (*sp) {
			*sp = '\0';
			arg = sp + 1;
		}
		if (*one == '\0') {
			continue;
		}
		jw_obj_open(w, NULL);
		err = run(one, arg, w, true) ?: err;
		jw_obj_close(w);
	}
	jw_raw(w, "]");
	w->first = false;
	return err;
}

static void trim(char *s)
{
	char *p = s;

	while (isspace((unsigned char)*p)) {
		p++;
	}
	memmove(s, p, strlen(p) + 1);
	for (size_t n = strlen(s); n > 0 && isspace((unsigned char)s[n - 1]); n--) {
		s[n - 1] = '\0';
	}
}

static int run(const char *cmd, const char *payload, struct jw *w, bool nested)
{
	char pl[128];

	if (strlen(payload) >= sizeof(pl)) {
		return error(w, cmd, "payload too long");
	}
	strcpy(pl, payload);
	trim(pl);

	for (size_t i = 0; i < ARRAY_SIZE(cmds); i++) {
		if (strcasecmp(cmd, cmds[i].name) == 0) {
			if (nested && cmds[i].fn == c_backlog) {
				return error(w, cmd, "no Backlog inside Backlog");
			}
			return cmds[i].fn(cmds[i].name, pl, w);
		}
	}

	/* Tunables, by name or by their Tasmota equivalent. */
	static const struct {
		const char *alias;
		const char *name;
	} param_alias[] = {
		{"TelePeriod", "tele_period_s"},
		{"Timezone", "tz_h"},
	};
	const struct param_desc *d = params_find(cmd);

	for (size_t i = 0; !d && i < ARRAY_SIZE(param_alias); i++) {
		if (!strcasecmp(cmd, param_alias[i].alias)) {
			d = params_find(param_alias[i].name);
		}
	}

	if (d) {
		if (*pl) {
			int err = params_set(d->name, pl);

			if (err == -EINVAL) {
				return error(w, d->name, d->kind == PARAM_BOOL ? "0/1/on/off/toggle"
									       : "out of range");
			}
		}
		if (d->kind == PARAM_FLOAT) {
			jw_num(w, d->name, (double)params_value(d), 3);
		} else {
			jw_int(w, d->name, (long long)params_value(d));
		}
		return 0;
	}

	/* Network settings, by Tasmota name or by key. */
	const char *key = NULL;
	const char *shown = cmd;

	for (size_t i = 0; i < ARRAY_SIZE(net_names); i++) {
		if (!strcasecmp(cmd, net_names[i].name) || !strcasecmp(cmd, net_names[i].key)) {
			key = net_names[i].key;
			shown = net_names[i].name;
			break;
		}
	}
	if (key) {
		char val[72];

		if (*pl) {
			int err = netcfg_set(key, pl);

			if (err == -EINVAL) {
				return error(w, shown, "invalid value");
			}
		}
		netcfg_print(key, val, sizeof(val), false);
		jw_str(w, shown, val);
		return 0;
	}

	jw_str(w, "Command", "Unknown");
	return -ENOENT;
}

int cmnd_exec(const char *cmd, const char *payload, char *out, size_t size)
{
	struct jw w;
	int err;

	k_mutex_lock(&lock, K_FOREVER);
	jw_init(&w, out, size);
	jw_obj_open(&w, NULL);
	err = run(cmd, payload ? payload : "", &w, false);
	jw_obj_close(&w);
	if (w.overflow) {
		snprintk(out, size, "{\"%s\":\"Error\",\"Hint\":\"result too long\"}", cmd);
	}
	k_mutex_unlock(&lock);

	LOG_INF("%s %s -> %s", cmd, (payload && *payload) ? "(set)" : "(query)",
		err == 0 ? "ok" : "error");
	return err;
}

/* For the shell's help text. */
void cmnd_list(void (*print)(void *ctx, const char *name, const char *help), void *ctx)
{
	for (size_t i = 0; i < ARRAY_SIZE(cmds); i++) {
		print(ctx, cmds[i].name, cmds[i].help);
	}
	for (size_t i = 0; i < ARRAY_SIZE(net_names); i++) {
		print(ctx, net_names[i].name, "[value]  network setting");
	}
	print(ctx, "TelePeriod", "[s]  telemetry heartbeat (= tele_period_s)");
	print(ctx, "Timezone", "[h]  UTC offset (= tz_h)");
	print(ctx, "<tunable>", "[value]  any name from `pump params`");
}
```

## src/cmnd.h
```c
/*
 * Tasmota-style commands: `<Command> [payload]`, case-insensitive, an empty
 * payload queries, the result is a JSON object. The same table serves
 *
 *   MQTT   cmnd/<topic>/<Command>  payload   ->  stat/<topic>/RESULT
 *   shell  cmnd <Command> [payload]
 *
 * Every tunable of `pump params` is a command of its own name. The full list
 * is in firmware/README.md.
 */

#ifndef PUMP_CMND_H_
#define PUMP_CMND_H_

#include <stddef.h>

/* 0, -ENOENT (unknown command) or -EINVAL; `out` holds the JSON either way. */
int cmnd_exec(const char *cmd, const char *payload, char *out, size_t size);

/* Walk the command list (shell help). */
void cmnd_list(void (*print)(void *ctx, const char *name, const char *help), void *ctx);

#endif /* PUMP_CMND_H_ */
```

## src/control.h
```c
/*
 * Level control for the condensate pump (design.md §6).
 *
 * Pure C with no Zephyr dependencies, so the same file builds into the
 * firmware and into the host closed-loop tests (tests/host).
 *
 * The pump never stops while there is water. It alternates between two
 * speeds just below (FILL) and just above (DRAIN) the estimated inflow q̂, so
 * the level drifts slowly between the low (L) and high (H) sensors. Every
 * sensor-to-sensor crossing measures the real inflow and refines q̂:
 *
 *   rise  L wet -> H wet :  q_in = (V_LH + V_pumped) / t
 *   fall  H dry -> L dry :  q_in = (V_pumped - V_LH) / t
 *
 * V_pumped is the volume actually pumped during the interval (integrated by
 * the motor layer), so the measurement stays correct across speed ramps.
 *
 * Escalation when H stays wet (pump too slow, rising inflow, dead pump) is
 * deliberately fast: the reservoir has only ~81 mL above H, which is ~3 min
 * at 1.5 L/h (design.md §4.7).
 */

#ifndef PUMP_CONTROL_H_
#define PUMP_CONTROL_H_

#include <stdbool.h>
#include <stdint.h>

#ifdef __cplusplus
extern "C" {
#endif

enum ctl_state {
	CTL_IDLE = 0,     /* L dry long enough: no water, motor stopped */
	CTL_FILL,         /* q = k_lo * q̂, level rises towards H */
	CTL_DRAIN,        /* q = k_hi * q̂, level falls towards L */
	CTL_EMERGENCY,    /* full speed until L is dry */
	CTL_SENSOR_FAULT, /* L dry + H wet: latched until L is seen wet again */
	CTL_STATE_COUNT,
};

/* Event bits, accumulated in ctl.events until the caller clears them. */
#define CTL_EV_STATE         (1u << 0) /* state changed */
#define CTL_EV_MEASURED      (1u << 1) /* new inflow measurement, q̂ updated */
#define CTL_EV_BOOST         (1u << 2) /* H stuck in DRAIN: q̂ raised */
#define CTL_EV_EMERGENCY     (1u << 3) /* entered EMERGENCY */
#define CTL_EV_PROBLEM_ON    (1u << 4) /* problem flag raised */
#define CTL_EV_PROBLEM_OFF   (1u << 5) /* problem flag cleared */
#define CTL_EV_QHAT_CHANGED  (1u << 6) /* q̂ changed (persist it) */

struct ctl_params {
	float v_lh_ml;          /* volume between the L and H trip lines */
	float k_lo;             /* FILL speed factor (< 1) */
	float k_hi;             /* DRAIN speed factor once H is dry (> 1) */
	float k_hwet;           /* DRAIN speed factor while H is still wet */
	float q_min_mlh;        /* floor for q̂ */
	float q_hat_max_mlh;    /* ceiling for q̂ (design max inflow + margin) */
	float q_emerg_mlh;      /* EMERGENCY flow */
	float q_safe_mlh;       /* SENSOR_FAULT flow */
	float ema_alpha;        /* weight of a new measurement in q̂ (0..1] */
	float boost_factor;     /* q̂ multiplier when H stays wet in DRAIN */
	float idle_factor;      /* q̂ multiplier when FILL times out to IDLE */
	float night_cap_mlh;    /* night cap on FILL and H-dry DRAIN, 0 = none */
	uint32_t max_boosts;    /* boosts in one DRAIN before EMERGENCY */
	uint32_t t_drain_s;     /* H wet this long in DRAIN -> boost */
	uint32_t t_fail_s;      /* H wet this long in EMERGENCY -> problem */
	float v_below_l_ml;     /* pumped with L dry in FILL -> IDLE (77 mL below L) */
	uint32_t t_idle_s;      /* L dry this long in FILL -> IDLE */
	uint32_t t_sensor_fault_s; /* L dry + H wet this long -> SENSOR_FAULT */
};

struct ctl_in {
	int64_t now_ms;   /* monotonic time */
	bool l_wet;       /* debounced low sensor */
	bool h_wet;       /* debounced high sensor */
	double pumped_ml; /* cumulative pumped volume (monotonic) */
	bool night;       /* night mode window active */
};

struct ctl_out {
	float q_cmd_mlh;  /* commanded pump flow */
	bool fast_ramp;   /* use the fast ramp (emergency) */
};

struct ctl_ref {
	bool valid;
	int64_t t_ms;
	double pumped_ml;
};

struct ctl {
	const struct ctl_params *p;
	enum ctl_state state;
	float q_hat_mlh;        /* estimated inflow */
	float last_meas_mlh;    /* last raw measurement (diagnostic) */
	bool problem;           /* pump failure: HA "problem" binary sensor */
	bool sensor_fault;
	uint32_t events;
	uint32_t n_measurements;

	/* internal */
	bool started;
	bool prev_l, prev_h;
	int64_t t_state_ms;     /* entered the current state */
	int64_t t_boost_ms;     /* last boost (or DRAIN entry) */
	uint32_t n_boosts;      /* boosts in the current DRAIN */
	int64_t fast_until_ms;  /* keep the fast ramp until then (leaving EMERGENCY) */
	int64_t t_h_wet_ms;     /* H became wet (valid while H wet) */
	int64_t t_l_dry_ms;     /* L became dry (valid while L dry) */
	double pumped_l_dry_ml; /* pumped volume when L became dry */
	int64_t t_bad_ms;       /* L dry + H wet since, -1 = consistent */
	struct ctl_ref rise;    /* set on L wet edge */
	struct ctl_ref fall;    /* set on H dry edge */
};

/* Default tunables (design.md §6, timeouts shortened for the 81 mL margin). */
void ctl_params_default(struct ctl_params *p);

void ctl_init(struct ctl *c, const struct ctl_params *p, float q_hat_mlh);

/* Run one control step. Call it periodically (e.g. every 100 ms). */
void ctl_step(struct ctl *c, const struct ctl_in *in, struct ctl_out *out);

/* Forget running measurements, e.g. after a manual override moved water. */
void ctl_invalidate(struct ctl *c);

const char *ctl_state_name(enum ctl_state s);

#ifdef __cplusplus
}
#endif

#endif /* PUMP_CONTROL_H_ */
```

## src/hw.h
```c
/*
 * Hardware backends. Implemented by motor_stepper.c + level_gpio.c on the
 * device, and by sim.c on native_sim (CONFIG_PUMP_SIM).
 */

#ifndef PUMP_HW_H_
#define PUMP_HW_H_

#include <stdbool.h>
#include <stdint.h>

int motor_hw_init(void);

/* Microsteps per second, > 0 runs forward; 0 stops and de-energises. */
int motor_hw_set_speed(float usteps_per_s);

/* Cumulative microsteps since boot. */
int64_t motor_hw_position(void);

int level_hw_init(void);

/* Raw (undebounced) sensor states, true = wet. */
void level_hw_read(bool *low_wet, bool *high_wet);

#endif /* PUMP_HW_H_ */
```
